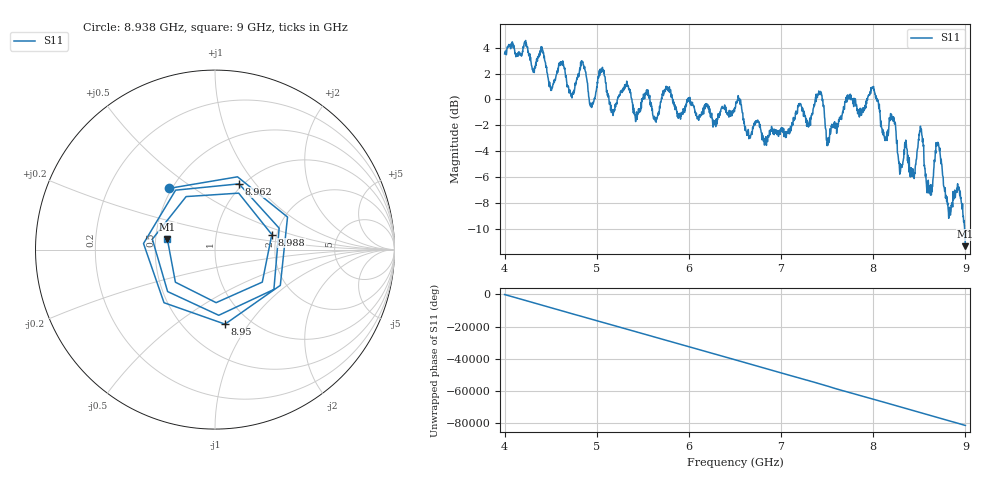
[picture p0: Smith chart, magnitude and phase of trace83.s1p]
! Created with skrf 1.8.0 (http://scikit-rf.org).
# Hz S RI R 50.0
!freq ReS11 ImS11
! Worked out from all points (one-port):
!   1601 points, 4 GHz to 9 GHz, reference 50 ohm
!   lowest |S11| = -11.3 dB at 9 GHz (marker M1), VSWR 1.75, Z = 28.9 + j3.58 ohm
!   |S11| at or under -10 dB: 8.991428 GHz to end of sweep
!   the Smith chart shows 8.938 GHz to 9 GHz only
!   S11 on the Smith chart (normalised r, x): 8.938 GHz: 0.48, +0.40; 8.95 GHz: 0.77, -0.78; 8.962 GHz: 0.96, +0.83; 8.988 GHz: 1.88, +0.35; 9 GHz: 0.58, +0.07
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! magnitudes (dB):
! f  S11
! 4 GHz  3.5
! 4.625 GHz  2.7
! 4.725 GHz  0.2
! 4.85 GHz  2.9
! 4.944 GHz  -0.6
! 5.053 GHz  2.2
! 5.162 GHz  -0.8
! 5.25 GHz  0.4
! 5.875 GHz  -1.3
! 6.5 GHz  -0.7
! 6.828 GHz  -3.4
! 7.125 GHz  -1.9
! 7.419 GHz  0.6
! 7.516 GHz  -3.2
! 7.75 GHz  0.4
! 8 GHz  0.9
! 8.112 GHz  -2.5
! 8.375 GHz  -4.3
! 8.434 GHz  -5.8
! 8.522 GHz  -2.3
! 8.619 GHz  -7.2
! 8.7 GHz  -3.3
! 8.819 GHz  -9.2
! 8.938 GHz  -7.4
! 8.95 GHz  -7.6
! 8.962 GHz  -8.2
! 8.988 GHz  -9.7
! 9 GHz  -11.3
